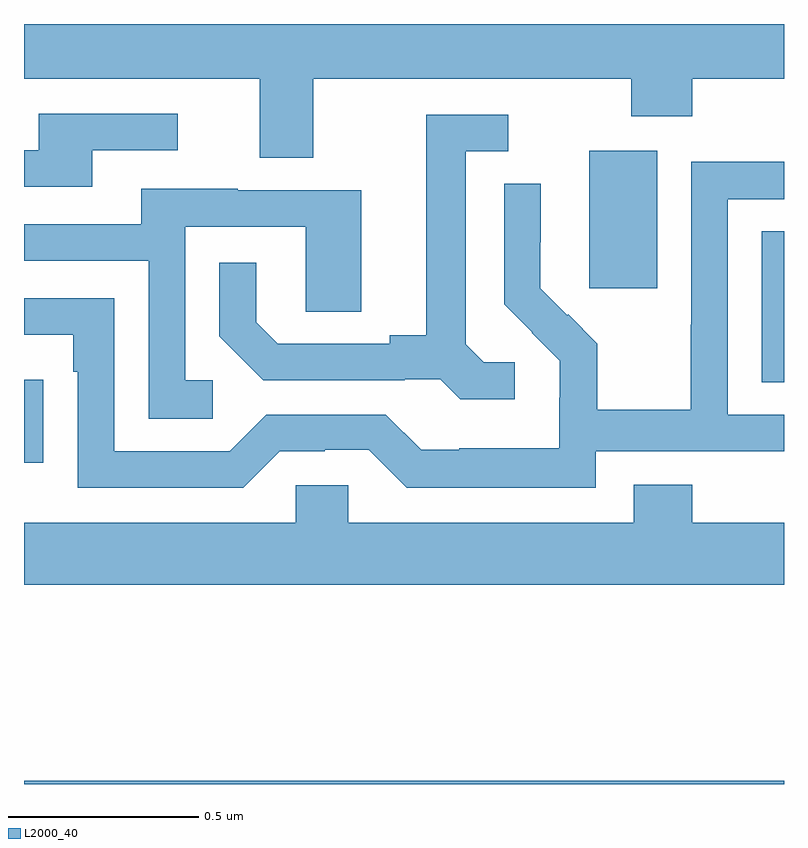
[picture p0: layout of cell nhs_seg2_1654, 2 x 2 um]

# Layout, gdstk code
import gdstk
lib = gdstk.Library(unit=1e-6, precision=1e-09)
def R(c, l, rs):  # rectangles x0, y0, x1, y1
    for r in rs: c.add(gdstk.rectangle(r[:2], r[2:], *l))
def P(c, l, *ps):  # polygons
    for p in ps: c.add(gdstk.Polygon(p, *l))
L2000_40 = (2000, 40)

nhs_seg2_1654 = lib.new_cell('nhs_seg2_1654')
R(nhs_seg2_1654, L2000_40, [(131,625.8,133,625.808), (131,626.646,131.051,626.864), (132.941,626.857,133,627.254), (132.488,627.105,132.667,627.466)])
P(nhs_seg2_1654, L2000_40, [(131.761,627.656),(132.598,627.656),(132.598,627.557),(132.758,627.557),(132.758,627.656),(133,627.656),(133,627.8),(131,627.8),(131,627.656),(131.621,627.656),(131.621,627.448),(131.761,627.448)],
  [(131.179,627.468),(131.404,627.468),(131.404,627.564),(131.039,627.564),(131.039,627.468),(131,627.468),(131,627.372),(131.179,627.372)],
  [(132.292,626.91),(132.21,626.91),(132.163,626.957),(132.163,627.465),(132.274,627.465),(132.274,627.561),(132.059,627.561),(132.059,626.981),(131.963,626.981),(131.963,626.958),(131.668,626.958),(131.611,627.015),(131.611,627.172),(131.514,627.172),(131.514,626.978),(131.63,626.862),(132.002,626.862),(132.002,626.865),(132.096,626.865),(132.148,626.813),(132.292,626.813)],
  [(132.504,626.676),(133,626.676),(133,626.772),(132.852,626.772),(132.852,627.339),(133,627.339),(133,627.438),(132.756,627.438),(132.756,627.008),(132.754,627.008),(132.754,626.785),(132.509,626.785),(132.509,626.959),(132.432,627.036),(132.429,627.033),(132.359,627.104),(132.359,627.226),(132.36,627.226),(132.36,627.38),(132.264,627.38),(132.264,627.062),(132.337,626.989),(132.336,626.988),(132.41,626.914),(132.41,626.817),(132.408,626.817),(132.408,626.683),(132.145,626.683),(132.145,626.679),(132.045,626.679),(131.952,626.772),(131.637,626.772),(131.541,626.676),(131.238,626.676),(131.238,627.078),(131,627.078),(131,626.982),(131.129,626.982),(131.129,626.885),(131.142,626.885),(131.142,626.58),(131.577,626.58),(131.673,626.676),(131.792,626.676),(131.792,626.679),(131.907,626.679),(132.007,626.579),(132.504,626.579)],
  [(131.497,626.862),(131.424,626.862),(131.424,627.267),(131.742,627.267),(131.742,627.043),(131.887,627.043),(131.887,627.363),(131.563,627.363),(131.563,627.367),(131.309,627.367),(131.309,627.273),(131,627.273),(131,627.177),(131.328,627.177),(131.328,626.761),(131.497,626.761)],
  [(133,626.488),(132.758,626.488),(132.758,626.587),(132.605,626.587),(132.605,626.488),(131.853,626.488),(131.853,626.586),(131.715,626.586),(131.715,626.488),(131,626.488),(131,626.324),(133,626.324)])

lib.write_gds('nhs_seg2_1654.gds')
